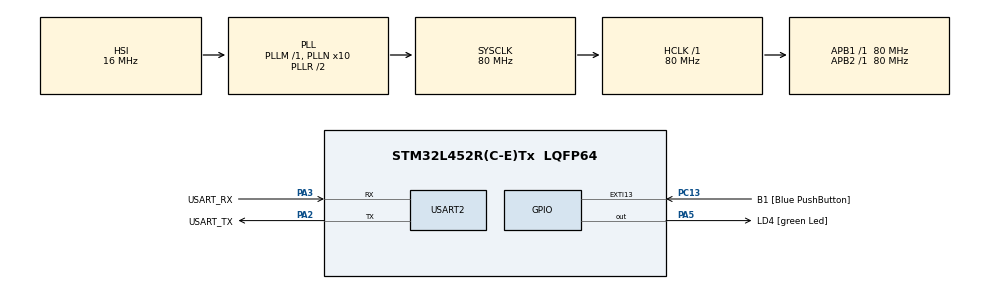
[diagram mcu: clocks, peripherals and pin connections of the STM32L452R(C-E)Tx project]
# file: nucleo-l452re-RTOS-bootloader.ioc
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FREERTOS.Tasks01=defaultTask,0,128,StartDefaultTask,Default,NULL,Dynamic,NULL,NULL
FREERTOS.configTIMER_TASK_PRIORITY=6
FREERTOS.configUSE_TIMERS=1
Mcu.Family=STM32L4
Mcu.Name=STM32L452R(C-E)Tx
Mcu.Package=LQFP64
NVIC.PriorityGroup=NVIC_PRIORITYGROUP_4
NVIC.TIM3_IRQn=true\:15\:0\:false\:false\:true\:false\:false\:true\:true
NVIC.TimeBase=TIM3_IRQn
NVIC.TimeBaseIP=TIM3
NVIC.USART2_IRQn=true\:5\:0\:false\:false\:true\:true\:true\:true\:true
PA13\ (JTMS/SWDIO).GPIO_Label=TMS
PA13\ (JTMS/SWDIO).Mode=Serial_Wire
PA13\ (JTMS/SWDIO).Signal=SYS_JTMS-SWDIO
PA14\ (JTCK/SWCLK).GPIO_Label=TCK
PA14\ (JTCK/SWCLK).Mode=Serial_Wire
PA14\ (JTCK/SWCLK).Signal=SYS_JTCK-SWCLK
PA2.GPIO_Label=USART_TX
PA2.GPIO_Mode=GPIO_MODE_AF_PP
PA2.GPIO_PuPd=GPIO_NOPULL
PA2.GPIO_Speed=GPIO_SPEED_FREQ_VERY_HIGH
PA2.Mode=Asynchronous
PA2.Signal=USART2_TX
PA3.GPIO_Label=USART_RX
PA3.GPIO_Mode=GPIO_MODE_AF_PP
PA3.GPIO_PuPd=GPIO_NOPULL
PA3.GPIO_Speed=GPIO_SPEED_FREQ_VERY_HIGH
PA3.Mode=Asynchronous
PA3.Signal=USART2_RX
PA5.GPIO_Label=LD4 [green Led]
PA5.GPIO_ModeDefaultOutputPP=GPIO_MODE_OUTPUT_PP
PA5.GPIO_PuPd=GPIO_NOPULL
PA5.GPIO_Speed=GPIO_SPEED_FREQ_LOW
PA5.Signal=GPIO_Output
PB3\ (JTDO/TRACESWO).GPIO_Label=SWO
PB3\ (JTDO/TRACESWO).Signal=SYS_JTDO-SWO
PC13.GPIO_Label=B1 [Blue PushButton]
PC13.GPIO_ModeDefaultEXTI=GPIO_MODE_IT_FALLING
PC13.GPIO_PuPd=GPIO_NOPULL
PC13.Signal=GPXTI13
PC14-OSC32_IN\ (PC14).Mode=LSE-External-Oscillator
PC14-OSC32_IN\ (PC14).Signal=RCC_OSC32_IN
PC15-OSC32_OUT\ (PC15).Mode=LSE-External-Oscillator
PC15-OSC32_OUT\ (PC15).Signal=RCC_OSC32_OUT
PH0-OSC_IN\ (PH0).Signal=RCC_OSC_IN
PH1-OSC_OUT\ (PH1).Signal=RCC_OSC_OUT
ProjectManager.HeapSize=0x800
ProjectManager.StackSize=0x400
ProjectManager.TargetToolchain=STM32CubeIDE
RCC.ADCFreq_Value=64000000
RCC.AHBFreq_Value=80000000
RCC.APB1Freq_Value=80000000
RCC.APB1TimFreq_Value=80000000
RCC.APB2Freq_Value=80000000
RCC.APB2TimFreq_Value=80000000
RCC.CortexFreq_Value=80000000
RCC.HCLKFreq_Value=80000000
RCC.HSE_VALUE=8000000
RCC.HSI48_VALUE=48000000
RCC.HSI_VALUE=16000000
RCC.MSI_VALUE=4000000
RCC.PLLN=10
RCC.PLLSourceVirtual=RCC_PLLSOURCE_HSI
RCC.PREFETCH_ENABLE=1
RCC.SYSCLKFreq_VALUE=80000000
RCC.SYSCLKSource=RCC_SYSCLKSOURCE_PLLCLK
RCC.USBFreq_Value=64000000
RCC.VCOOutputFreq_Value=160000000
USART2.VirtualMode-Asynchronous=VM_ASYNC
VP_CRC_VS_CRC.Mode=CRC_Activate
VP_FREERTOS_VS_CMSIS_V1.Mode=CMSIS_V1
VP_SYS_VS_tim3.Mode=TIM3
board=NUCLEO-L452RE

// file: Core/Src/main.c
/* USER CODE BEGIN Header */
/**
  ******************************************************************************
  * @file           : main.c
  * @brief          : Main program body
  ******************************************************************************
  * @attention
  *
  *	@Author: Phuc Phan Son
  * Copyright (c) 2022 STMicroelectronics.
  * All rights reserved.
  *
  ******************************************************************************
  */
/* USER CODE END Header */

#include "main.h"
#include "cmsis_os.h"

/* USER CODE BEGIN Includes */
#include <string.h>
#include <stdio.h>
#include <stdint.h>
#include <stdbool.h>
#include "bootloader.h"
#include "custom_rtos.h"
#include "F4_FLASH_PAGE.h"
/* USER CODE END Includes */

CRC_HandleTypeDef hcrc;
UART_HandleTypeDef huart2;

void SystemClock_Config(void);
static void MX_GPIO_Init(void);
static void MX_USART2_UART_Init(void);
static void MX_CRC_Init(void);

/* USER CODE BEGIN PFP */

int main(void)
{
  /* USER CODE BEGIN 1 */
  struct AMessage xMessage;
  uint8_t buffer[FRAME_0_SIZE];
  /* USER CODE END 1 */

  /* MCU Configuration--------------------------------------------------------*/

  /* Reset of all peripherals, Initializes the Flash interface and the Systick. */
  HAL_Init();

  /* Configure the system clock */
  SystemClock_Config();

  /* Initialize all configured peripherals */
  MX_GPIO_Init();
  MX_USART2_UART_Init();
  MX_CRC_Init();
  /* USER CODE BEGIN 2 */

  sprintf(usr_msg, "Hello from Bootloader! Version: %.1f\r\n",BL_VERSION);
  printf(usr_msg);

  /* USER CODE END 2 */

  /* USER CODE BEGIN RTOS_TIMERS */
  xTimer_1 = xTimerCreate("Timer", pdMS_TO_TICKS(500), pdTRUE, ( void * ) 0, vTimerCallBack);
  /* USER CODE END RTOS_TIMERS */

  /* USER CODE BEGIN RTOS_QUEUES */
  xFrame_0 = xQueueCreate(10, sizeof(buffer));
  xStructQueue = xQueueCreate(10, sizeof (xMessage));
  /* USER CODE END RTOS_QUEUES */
  /* USER CODE BEGIN RTOS_THREADS */

  if(xFrame_0 != NULL && xStructQueue != NULL)
  {
  	  xTaskCreate(vTaskOTACheck, "OTA-CHECK-TASK", 128, NULL, 2, &xTaskHandle1);
  	  xTaskCreate(vTaskCMDRx, "RECEIVE-CMD", 128, NULL, 2, &xTaskHandle2);
  	  xTaskCreate(vTaskCMDHandler, "PROCESS-CMD", 300, NULL, 2, &xTaskHandle3);
  }
  else
	  printf("Failed in creating queue!\r\n");

  /*Start Scheduler*/
  vTaskStartScheduler();
  /* USER CODE END RTOS_THREADS */

  /* Start scheduler */

  /* We should never get here as control is now taken by the scheduler */
  /* Infinite loop */
  while (1)
  {

  }
}

void SystemClock_Config(void)
{
  RCC_OscInitTypeDef RCC_OscInitStruct = {0};
  RCC_ClkInitTypeDef RCC_ClkInitStruct = {0};

  /** Configure the main internal regulator output voltage
  */
  if (HAL_PWREx_ControlVoltageScaling(PWR_REGULATOR_VOLTAGE_SCALE1) != HAL_OK)
  {
    Error_Handler();
  }

  /** Initializes the RCC Oscillators according to the specified parameters
  * in the RCC_OscInitTypeDef structure.
  */
  RCC_OscInitStruct.OscillatorType = RCC_OSCILLATORTYPE_HSI;
  RCC_OscInitStruct.HSIState = RCC_HSI_ON;
  RCC_OscInitStruct.HSICalibrationValue = RCC_HSICALIBRATION_DEFAULT;
  RCC_OscInitStruct.PLL.PLLState = RCC_PLL_ON;
  RCC_OscInitStruct.PLL.PLLSource = RCC_PLLSOURCE_HSI;
  RCC_OscInitStruct.PLL.PLLM = 1;
  RCC_OscInitStruct.PLL.PLLN = 10;
  RCC_OscInitStruct.PLL.PLLP = RCC_PLLP_DIV7;
  RCC_OscInitStruct.PLL.PLLQ = RCC_PLLQ_DIV2;
  RCC_OscInitStruct.PLL.PLLR = RCC_PLLR_DIV2;
  if (HAL_RCC_OscConfig(&RCC_OscInitStruct) != HAL_OK)
  {
    Error_Handler();
  }

  /** Initializes the CPU, AHB and APB buses clocks
  */
  RCC_ClkInitStruct.ClockType = RCC_CLOCKTYPE_HCLK|RCC_CLOCKTYPE_SYSCLK
                              |RCC_CLOCKTYPE_PCLK1|RCC_CLOCKTYPE_PCLK2;
  RCC_ClkInitStruct.SYSCLKSource = RCC_SYSCLKSOURCE_PLLCLK;
  RCC_ClkInitStruct.AHBCLKDivider = RCC_SYSCLK_DIV1;
  RCC_ClkInitStruct.APB1CLKDivider = RCC_HCLK_DIV1;
  RCC_ClkInitStruct.APB2CLKDivider = RCC_HCLK_DIV1;

  if (HAL_RCC_ClockConfig(&RCC_ClkInitStruct, FLASH_LATENCY_4) != HAL_OK)
  {
    Error_Handler();
  }
}

static void MX_CRC_Init(void)
{

  hcrc.Instance = CRC;
  hcrc.Init.DefaultPolynomialUse = DEFAULT_POLYNOMIAL_ENABLE;
  hcrc.Init.DefaultInitValueUse = DEFAULT_INIT_VALUE_ENABLE;
  hcrc.Init.InputDataInversionMode = CRC_INPUTDATA_INVERSION_NONE;
  hcrc.Init.OutputDataInversionMode = CRC_OUTPUTDATA_INVERSION_DISABLE;
  hcrc.InputDataFormat = CRC_INPUTDATA_FORMAT_BYTES;
  if (HAL_CRC_Init(&hcrc) != HAL_OK)
  {
    Error_Handler();
  }

}

static void MX_USART2_UART_Init(void)
{

  huart2.Instance = USART2;
  huart2.Init.BaudRate = 115200;
  huart2.Init.WordLength = UART_WORDLENGTH_8B;
  huart2.Init.StopBits = UART_STOPBITS_1;
  huart2.Init.Parity = UART_PARITY_NONE;
  huart2.Init.Mode = UART_MODE_TX_RX;
  huart2.Init.HwFlowCtl = UART_HWCONTROL_NONE;
  huart2.Init.OverSampling = UART_OVERSAMPLING_16;
  huart2.Init.OneBitSampling = UART_ONE_BIT_SAMPLE_DISABLE;
  huart2.AdvancedInit.AdvFeatureInit = UART_ADVFEATURE_NO_INIT;
  if (HAL_UART_Init(&huart2) != HAL_OK)
  {
    Error_Handler();
  }

}

static void MX_GPIO_Init(void)
{
  GPIO_InitTypeDef GPIO_InitStruct = {0};

  /* GPIO Ports Clock Enable */
  __HAL_RCC_GPIOC_CLK_ENABLE();
  __HAL_RCC_GPIOH_CLK_ENABLE();
  __HAL_RCC_GPIOA_CLK_ENABLE();
  __HAL_RCC_GPIOB_CLK_ENABLE();

  /*Configure GPIO pin Output Level */
  HAL_GPIO_WritePin(LD4_GPIO_Port, LD4_Pin, GPIO_PIN_RESET);

  /*Configure GPIO pin : B1_Pin */
  GPIO_InitStruct.Pin = B1_Pin;
  GPIO_InitStruct.Mode = GPIO_MODE_IT_FALLING;
  GPIO_InitStruct.Pull = GPIO_NOPULL;
  HAL_GPIO_Init(B1_GPIO_Port, &GPIO_InitStruct);

  /*Configure GPIO pin : LD4_Pin */
  GPIO_InitStruct.Pin = LD4_Pin;
  GPIO_InitStruct.Mode = GPIO_MODE_OUTPUT_PP;
  GPIO_InitStruct.Pull = GPIO_NOPULL;
  GPIO_InitStruct.Speed = GPIO_SPEED_FREQ_LOW;
  HAL_GPIO_Init(LD4_GPIO_Port, &GPIO_InitStruct);

}

/* USER CODE BEGIN 4 */

//Timer CallBack function definition
void vTimerCallBack( TimerHandle_t xTimer)
{
	uint8_t ulCount = 0;
	sprintf(usr_msg,"The timer has counted: %d\r\n", ulCount);
	printf(usr_msg);
}

/* USER CODE END 4 */

void HAL_TIM_PeriodElapsedCallback(TIM_HandleTypeDef *htim)
{
  if (htim->Instance == TIM3) {
    HAL_IncTick();
  }
}

void Error_Handler(void)
{
  __disable_irq();
  while (1)
  {
  }
}
